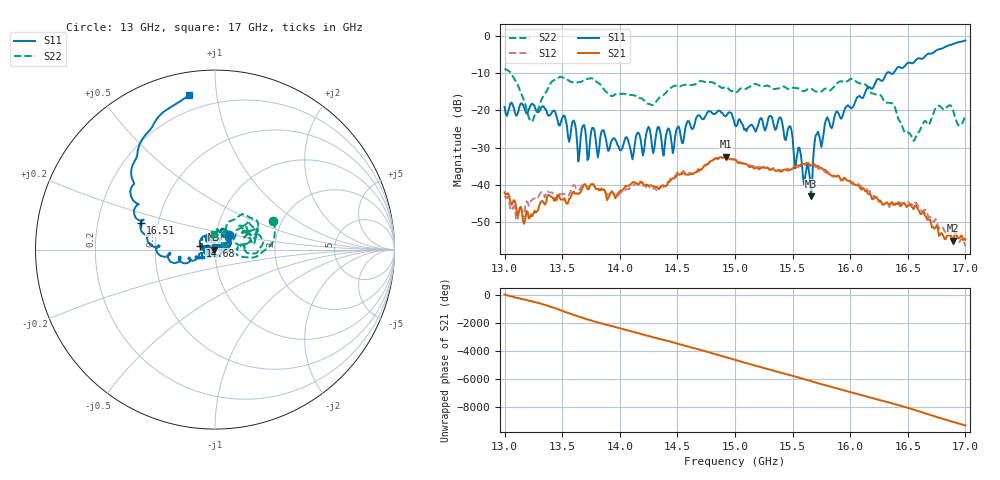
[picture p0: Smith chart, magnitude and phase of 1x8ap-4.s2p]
!Keysight Technologies,P9374A,MY57211807,A.19.30.04
!Date: Friday, May 08, 2026 15:39:16
!Correction: S11(C  2-Port  )
!S21(C  2-Port  )
!S12(C  2-Port  )
!S22(C  2-Port  )
!S2P File: Measurements: S11, S21, S12, S22:
# Hz S  dB  R 50
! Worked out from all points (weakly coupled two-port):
!   401 points, 13 GHz to 17 GHz, reference 50 ohm
!   highest |S21| = -32.43 dB at 14.92 GHz (marker M1); lowest = -55.0 dB at 16.89 GHz (marker M2)
!   lowest |S11| = -43.1 dB at 15.66 GHz (marker M3), VSWR 1.01, Z = 49.3 - j0.0564 ohm
!   |S11| at or under -10 dB: start of sweep to 16.32 GHz; 16.3509 GHz to 16.37411 GHz (23.21 MHz wide, 0.142 % of centre)
!   |S22| runs from -28.2 to -8.8 dB; largest |S21 - S12| = 0.0035
!   S11 on the Smith chart (normalised r, x): 13 GHz: 1.15, +0.19; 14.68 GHz: 0.85, +0.04; 16.51 GHz: 0.40, +0.15; 17 GHz: 0.12, +0.84
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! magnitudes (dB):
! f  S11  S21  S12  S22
! 13 GHz  -19.0  -42.1  -43.0  -8.8
! 13.11 GHz  -21.2  -48.4  -49.6  -12.8
! 13.23 GHz  -18.4  -48.0  -44.3  -23.0
! 13.42 GHz  -20.1  -43.6  -42.4  -12.0
! 13.64 GHz  -33.7  -42.5  -41.6  -12.4
! 13.67 GHz  -24.9  -41.4  -40.3  -12.2
! 14.11 GHz  -33.2  -39.4  -40.4  -15.9
! 14.34 GHz  -24.5  -41.2  -41.4  -16.7
! 14.46 GHz  -31.5  -38.2  -38.0  -13.6
! 14.68 GHz  -21.3  -35.8  -36.3  -12.4
! 14.92 GHz  -21.6  -32.4  -32.6  -13.7
! 15 GHz  -24.0  -33.3  -33.1  -15.0
! 15.39 GHz  -21.9  -36.4  -36.0  -13.9
! 15.66 GHz  -43.1  -34.7  -35.1  -14.2
! 15.67 GHz  -39.1  -34.6  -35.0  -14.3
! 15.71 GHz  -26.5  -34.9  -35.3  -15.0
! 15.8 GHz  -21.8  -36.5  -36.9  -14.2
! 16.02 GHz  -19.2  -39.7  -39.2  -11.5
! 16.34 GHz  -9.8  -45.5  -46.0  -18.0
! 16.51 GHz  -7.1  -45.5  -44.9  -26.0
! 16.89 GHz  -2.2  -55.0  -53.7  -19.8
! 17 GHz  -1.2  -54.8  -56.5  -21.5
